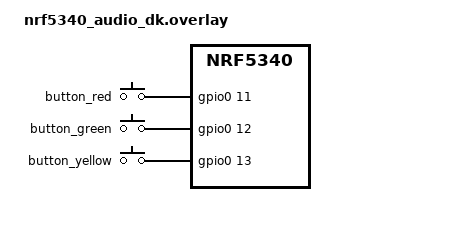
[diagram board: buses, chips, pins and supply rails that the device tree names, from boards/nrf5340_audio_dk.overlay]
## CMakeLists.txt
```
cmake_minimum_required(VERSION 3.20.0)
find_package(Zephyr REQUIRED HINTS $ENV{ZEPHYR_BASE})

project(trafficlights_sequence)

target_sources(app PRIVATE
    src/main.c
    src/leds.c
    src/buttons.c
    src/uart_dispatcher.c
)

include_directories(src)
```

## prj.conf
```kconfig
# Multithreading & main thread
CONFIG_MULTITHREADING=y
CONFIG_MAIN_THREAD_PRIORITY=0
CONFIG_MAIN_STACK_SIZE=1024

# LED and GPIO
CONFIG_LED=y
CONFIG_GPIO=y

# Printk
CONFIG_PRINTK=y

# Heap / dynamic memory for k_malloc
CONFIG_HEAP_MEM_POOL_SIZE=1024
```

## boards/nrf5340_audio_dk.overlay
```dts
/ {
    aliases {
        led0 = &rgb1_red;    
        led1 = &rgb1_green;  
        led2 = &rgb1_blue;   

        sw0 = &button_red;
        sw1 = &button_green;
        sw2 = &button_yellow;
    };
};

&button_red {
    status = "okay";
    gpios = <&gpio0 11 GPIO_ACTIVE_HIGH>; /* Muokkaa pinnit laitteesi mukaan */
};

&button_green {
    status = "okay";
    gpios = <&gpio0 12 GPIO_ACTIVE_HIGH>;
};

&button_yellow {
    status = "okay";
    gpios = <&gpio0 13 GPIO_ACTIVE_HIGH>;
};
```

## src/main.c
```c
/* 

VKO 3. Tavoitteena korkein pistemäärä, eli koodissa toimii 
1. sekvenssien lähetys sarjaportin kautta 
2. sekvessien lähetys painonapeilla
3. sekvenssien toisto lisäämällä sekvenssin perään "," ja toistojen määrä

VKO 4. Tavoitteena korkein pistemäärä, eli koodissa toimii
1. Ajoitukset liikennevaloihin
2. Lisäominaisuuksina ajoituksiin myös sekvenssin käsittelyaika mainissa
ja kaikkien sekvenssien kokonaiskeston
3. Debugin kytkeminen päälle ja pois sarjaportin kautta komeinnoilla D0 ja D1.

*/

#include <zephyr/kernel.h>
#include <zephyr/sys/printk.h>
#include "leds.h"
#include "buttons.h"

extern int init_uart(void);

int main(void) {
    printk("System start\n");

    if (init_led() != 0) {
        printk("LED init failed\n");
    }
    if (init_uart() != 0) {
        printk("UART init failed\n");
    }
    if (init_buttons() != 0) {
        printk("Button init failed\n");
    }

    while (1) {
        k_msleep(1000); // pääloop ei tee muuta
    }

    return 0;
}
```

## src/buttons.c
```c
#include "buttons.h"
#include <zephyr/kernel.h>
#include <zephyr/sys/printk.h>

/* FIFO viesteille */
K_FIFO_DEFINE(button_fifo);

/* Semaphore dispatcherille */
K_SEM_DEFINE(dispatcher_sem, 0, 1);

/* Button pins */
const struct gpio_dt_spec button_red    = GPIO_DT_SPEC_GET(DT_ALIAS(sw0), gpios);
const struct gpio_dt_spec button_green  = GPIO_DT_SPEC_GET(DT_ALIAS(sw1), gpios);
const struct gpio_dt_spec button_yellow = GPIO_DT_SPEC_GET(DT_ALIAS(sw2), gpios);

/* Data tyyppi FIFO:lle */
struct button_event_t {
    void *fifo_reserved;
    char cmd;
};

/* ISR for buttons */
static void button_pressed_isr(const struct device *dev, struct gpio_callback *cb, uint32_t pins) {
    struct button_event_t *evt = k_malloc(sizeof(*evt));
    if (!evt) return;

    if (pins & BIT(button_red.pin)) {
        evt->cmd = 'R';
    } else if (pins & BIT(button_green.pin)) {
        evt->cmd = 'G';
    } else if (pins & BIT(button_yellow.pin)) {
        evt->cmd = 'Y';
    } else {
        k_free(evt);
        return;
    }

    k_fifo_put(&button_fifo, evt);

    /* Herätetään dispatcher */
    k_sem_give(&dispatcher_sem);
}

/* GPIO callbacks */
static struct gpio_callback button_cb;

int init_buttons(void) {
    int ret;

    const struct gpio_dt_spec buttons[] = {button_red, button_green, button_yellow};

    for (int i = 0; i < 3; i++) {
        ret = gpio_pin_configure_dt(&buttons[i], GPIO_INPUT | GPIO_PULL_UP);
        if (ret < 0) return ret;
        ret = gpio_pin_interrupt_configure_dt(&buttons[i], GPIO_INT_EDGE_TO_ACTIVE);
        if (ret < 0) return ret;
    }

    gpio_init_callback(&button_cb, button_pressed_isr,
                       BIT(button_red.pin) | BIT(button_green.pin) | BIT(button_yellow.pin));
    gpio_add_callback(button_red.port, &button_cb);

    return 0;
}

struct k_fifo *get_button_fifo(void) {
    return &button_fifo;
}
```

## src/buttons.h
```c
#pragma once
#include <zephyr/drivers/gpio.h>
#include <zephyr/kernel.h>

int init_buttons(void);

/* Button pins */
extern const struct gpio_dt_spec button_red;
extern const struct gpio_dt_spec button_green;
extern const struct gpio_dt_spec button_yellow;

/* FIFO getter dispatcherille */
struct k_fifo *get_button_fifo(void);

/* Semaphore dispatcherille */
extern struct k_sem dispatcher_sem;
```

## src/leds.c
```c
#include "leds.h"
#include <zephyr/sys/printk.h>

const struct gpio_dt_spec red   = GPIO_DT_SPEC_GET(DT_ALIAS(led0), gpios);
const struct gpio_dt_spec green = GPIO_DT_SPEC_GET(DT_ALIAS(led1), gpios);
const struct gpio_dt_spec blue  = GPIO_DT_SPEC_GET(DT_ALIAS(led2), gpios);

/* Semaphore: dispatcher odottaa aina seuraavaa giveä */
K_SEM_DEFINE(release_sem, 0, 1);

int init_led(void) {
    int ret;
    ret = gpio_pin_configure_dt(&red, GPIO_OUTPUT_INACTIVE);
    if (ret < 0) return ret;
    ret = gpio_pin_configure_dt(&green, GPIO_OUTPUT_INACTIVE);
    if (ret < 0) return ret;
    ret = gpio_pin_configure_dt(&blue, GPIO_OUTPUT_INACTIVE);
    if (ret < 0) return ret;

    printk("LEDs initialized\n");
    return 0;
}
```

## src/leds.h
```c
#pragma once
#include <zephyr/drivers/gpio.h>
#include <zephyr/kernel.h>

/* LED-aliasit (käytetään boardin DTS:ssä määriteltyjä) */
extern const struct gpio_dt_spec red;
extern const struct gpio_dt_spec green;
extern const struct gpio_dt_spec blue;

/* LED-init funktio */
int init_led(void);

/* Dispatcher käyttää tätä semaforia */
extern struct k_sem release_sem;
```

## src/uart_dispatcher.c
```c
#include <zephyr/kernel.h>
#include <zephyr/sys/printk.h>
#include <zephyr/drivers/uart.h>
#include <zephyr/timing/timing.h>
#include <stdlib.h>
#include <string.h>
#include "leds.h"
#include "buttons.h"

#define STACKSIZE 700
#define PRIORITY  5
#define UART_MSG_MAX_LEN 64

#define UART_DEVICE_NODE DT_CHOSEN(zephyr_shell_uart)
static const struct device *const uart_dev = DEVICE_DT_GET(UART_DEVICE_NODE);

/* Debug-lippu */
static bool debug_enabled = true;

#define DBG_PRINTK(...) \
    do { if (debug_enabled) printk(__VA_ARGS__); } while (0)

/* Dispatcher FIFO data */
struct data_t {
    void *fifo_reserved;
    char msg[UART_MSG_MAX_LEN];
};

/* Dispatcher FIFO */
K_FIFO_DEFINE(dispatcher_fifo);

/* UART init */
int init_uart(void) {
    if (!device_is_ready(uart_dev)) {
        printk("UART device not ready!\n");
        return 1;
    }
    return 0;
}

/* UART task */
static void uart_task(void *a, void *b, void *c) {
    char rc;
    char uart_buf[UART_MSG_MAX_LEN];
    int idx = 0;
    memset(uart_buf, 0, sizeof(uart_buf));

    while (1) {
        if (uart_poll_in(uart_dev, &rc) == 0) {
            if (rc == '\r' || rc == '\n') {
                if (idx > 0) {
                    struct data_t *buf = k_malloc(sizeof(*buf));
                    if (buf) {
                        strncpy(buf->msg, uart_buf, sizeof(buf->msg) - 1);
                        buf->msg[sizeof(buf->msg) - 1] = '\0';

                        /* Tarkista onko komento debugille */
                        if (buf->msg[0] == 'D') {
                            if (buf->msg[1] == '1') debug_enabled = true;
                            else if (buf->msg[1] == '0') debug_enabled = false;
                            printk("Debug mode %s\n", debug_enabled ? "ON" : "OFF");
                            k_free(buf);
                        } else {
                            k_fifo_put(get_button_fifo(), buf);
                            k_sem_give(&dispatcher_sem);
                            printk("UART seq queued: %s\n", buf->msg);
                        }
                    }
                    idx = 0;
                    memset(uart_buf, 0, sizeof(uart_buf));
                }
            } else if (idx < (UART_MSG_MAX_LEN - 1)) {
                uart_buf[idx++] = rc;
            } else {
                printk("UART message too long, dropped\n");
                idx = 0;
                memset(uart_buf, 0, sizeof(uart_buf));
            }
        } else {
            k_msleep(5);
        }
    }
}

/* Dispatcher task */
static void dispatcher_task(void *a, void *b, void *c) {
    while (1) {
        /* Aloitushetki koko sekvenssin käsittelylle */
        uint64_t total_start_us = k_uptime_get() * 1000ULL;

        k_sem_take(&dispatcher_sem, K_FOREVER);

        struct data_t *rec;
        while ((rec = k_fifo_get(get_button_fifo(), K_NO_WAIT)) != NULL) {
            char *sep = strchr(rec->msg, ',');
            int repeat = 1;

            if (sep != NULL) {
                *sep = '\0';
                repeat = atoi(sep + 1);
                if (repeat <= 0) repeat = 1;
            }

            /* Aloitushetki yksittäiselle sekvenssille */
            uint64_t seq_start_us = k_uptime_get() * 1000ULL;

            for (int r = 0; r < repeat; r++) {
                uint64_t seq_total_us = 0;

                for (size_t i = 0; i < strlen(rec->msg); i++) {
                    char ch = rec->msg[i];

                    /* Aloitushetki yksittäiselle valotehtävälle */
                    uint32_t start = k_cycle_get_32();

                    switch (ch) {
                    case 'R':
                        DBG_PRINTK("Sytytetään punainen\n");
                        gpio_pin_set_dt(&red, 1);
                        k_msleep(500);
                        gpio_pin_set_dt(&red, 0);
                        break;
                    case 'G':
                        DBG_PRINTK("Sytytetään vihreä\n");
                        gpio_pin_set_dt(&green, 1);
                        k_msleep(500);
                        gpio_pin_set_dt(&green, 0);
                        break;
                    case 'Y':
                        DBG_PRINTK("Sytytetään keltainen\n");
                        gpio_pin_set_dt(&red, 1);
                        gpio_pin_set_dt(&green, 1);
                        k_msleep(500);
                        gpio_pin_set_dt(&red, 0);
                        gpio_pin_set_dt(&green, 0);
                        break;
                    default:
                        DBG_PRINTK("Tuntematon merkki: %c\n", ch);
                        break;
                    }

                    /* Loppuhetki yksittäiselle valotehtävälle */
                    uint32_t end = k_cycle_get_32();
                    uint64_t dur_us = k_cyc_to_us_floor64(end - start);
                    seq_total_us += dur_us;

                    printk("Task %c duration: %llu us\n", ch, dur_us);
                }

                printk("Sequence total duration: %llu us\n", seq_total_us);
            }

            /* Sekvenssin käsittelyaika dispatcherissa */
            uint64_t seq_end_us = k_uptime_get() * 1000ULL;
            printk("Processing time for sequence '%s': %llu us\n", rec->msg, seq_end_us - seq_start_us);

            k_free(rec);
        }

        /* Kokonaisaika odotuksesta ja käsittelystä */
        uint64_t total_end_us = k_uptime_get() * 1000ULL;
        printk("Total elapsed time for all sequences: %llu us\n", total_end_us - total_start_us);
    }
}

/* Luodaan säikeet */
K_THREAD_DEFINE(uart_thread, STACKSIZE, uart_task, NULL, NULL, NULL,
                PRIORITY, 0, 0);
K_THREAD_DEFINE(dis_thread, STACKSIZE, dispatcher_task, NULL, NULL, NULL,
                PRIORITY, 0, 0);
```
